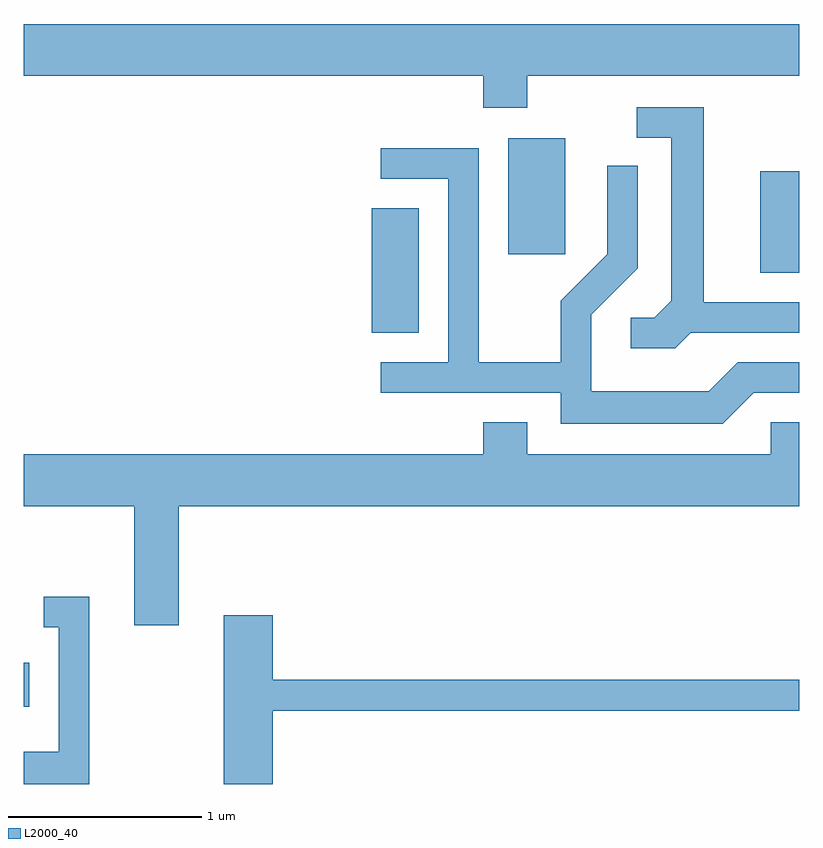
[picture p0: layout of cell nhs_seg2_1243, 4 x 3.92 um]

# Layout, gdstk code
import gdstk
lib = gdstk.Library(unit=1e-6, precision=1e-09)
def R(c, l, rs):  # rectangles x0, y0, x1, y1
    for r in rs: c.add(gdstk.rectangle(r[:2], r[2:], *l))
def P(c, l, *ps):  # polygons
    for p in ps: c.add(gdstk.Polygon(p, *l))
L2000_40 = (2000, 40)

nhs_seg2_1243 = lib.new_cell('nhs_seg2_1243')
R(nhs_seg2_1243, L2000_40, [(221.611,1016.201,221.639,1016.429), (223.406,1018.131,223.649,1018.774), (225.411,1018.441,225.611,1018.964), (224.111,1018.536,224.404,1019.134)])
P(nhs_seg2_1243, L2000_40, [(224.209,1019.456),(225.611,1019.456),(225.611,1019.724),(221.611,1019.724),(221.611,1019.456),(223.981,1019.456),(223.981,1019.291),(224.209,1019.291)],
  [(225.052,1018.131),(225.611,1018.131),(225.611,1018.289),(225.119,1018.289),(225.119,1019.294),(224.773,1019.294),(224.773,1019.136),(224.951,1019.136),(224.951,1018.297),(224.864,1018.209),(224.743,1018.209),(224.743,1018.051),(224.972,1018.051)],
  [(225.377,1017.821),(225.611,1017.821),(225.611,1017.979),(225.294,1017.979),(225.144,1017.829),(224.539,1017.829),(224.539,1018.224),(224.779,1018.464),(224.779,1018.993),(224.621,1018.993),(224.621,1018.537),(224.381,1018.297),(224.381,1017.979),(223.959,1017.979),(223.959,1019.084),(223.453,1019.084),(223.453,1018.926),(223.801,1018.926),(223.801,1017.979),(223.453,1017.979),(223.453,1017.821),(224.381,1017.821),(224.381,1017.661),(225.217,1017.661)],
  [(222.409,1017.236),(225.611,1017.236),(225.611,1017.669),(225.466,1017.669),(225.466,1017.504),(224.209,1017.504),(224.209,1017.669),(223.981,1017.669),(223.981,1017.504),(221.611,1017.504),(221.611,1017.236),(222.181,1017.236),(222.181,1016.621),(222.409,1016.621)],
  [(221.949,1016.769),(221.713,1016.769),(221.713,1016.611),(221.791,1016.611),(221.791,1015.969),(221.611,1015.969),(221.611,1015.802),(221.949,1015.802)],
  [(222.894,1016.181),(225.611,1016.181),(225.611,1016.339),(222.894,1016.339),(222.894,1016.674),(222.641,1016.674),(222.641,1015.802),(222.894,1015.802)])

lib.write_gds('nhs_seg2_1243.gds')
